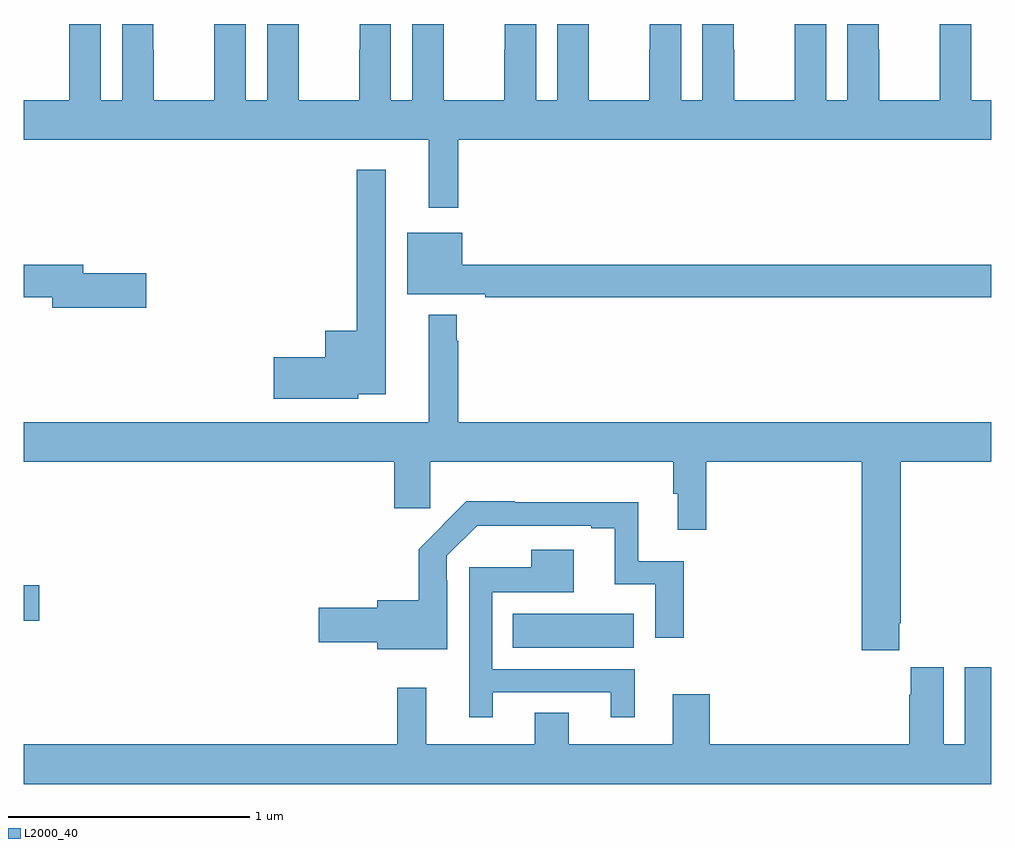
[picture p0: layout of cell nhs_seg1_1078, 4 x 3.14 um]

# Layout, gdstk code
import gdstk
lib = gdstk.Library(unit=1e-6, precision=1e-09)
def R(c, l, rs):  # rectangles x0, y0, x1, y1
    for r in rs: c.add(gdstk.rectangle(r[:2], r[2:], *l))
def P(c, l, *ps):  # polygons
    for p in ps: c.add(gdstk.Polygon(p, *l))
L2000_40 = (2000, 40)

nhs_seg1_1078 = lib.new_cell('nhs_seg1_1078')
R(nhs_seg1_1078, L2000_40, [(171.022,561.62,171.523,561.76), (169,561.731,169.063,561.878)])
P(nhs_seg1_1078, L2000_40, [(170.797,563.72),(173,563.72),(173,563.884),(172.918,563.884),(172.918,564.199),(172.788,564.199),(172.788,564.092),(172.787,564.092),(172.787,563.884),(172.537,563.884),(172.537,564.092),(172.536,564.092),(172.536,564.199),(172.406,564.199),(172.406,563.884),(172.318,563.884),(172.318,564.199),(172.188,564.199),(172.188,564.092),(172.187,564.092),(172.187,563.884),(171.937,563.884),(171.937,564.092),(171.936,564.092),(171.936,564.199),(171.806,564.199),(171.806,563.884),(171.718,563.884),(171.718,564.199),(171.588,564.199),(171.588,564.092),(171.587,564.092),(171.587,563.884),(171.337,563.884),(171.337,564.092),(171.336,564.092),(171.336,564.199),(171.206,564.199),(171.206,563.884),(171.118,563.884),(171.118,564.199),(170.988,564.199),(170.988,564.092),(170.987,564.092),(170.987,563.884),(170.737,563.884),(170.737,564.092),(170.736,564.092),(170.736,564.199),(170.606,564.199),(170.606,563.884),(170.518,563.884),(170.518,564.199),(170.388,564.199),(170.388,564.092),(170.387,564.092),(170.387,563.884),(170.137,563.884),(170.137,564.092),(170.136,564.092),(170.136,564.199),(170.006,564.199),(170.006,563.884),(169.918,563.884),(169.918,564.199),(169.788,564.199),(169.788,564.092),(169.787,564.092),(169.787,563.884),(169.537,563.884),(169.537,564.092),(169.536,564.092),(169.536,564.199),(169.406,564.199),(169.406,563.884),(169.318,563.884),(169.318,564.199),(169.188,564.199),(169.188,564.092),(169.187,564.092),(169.187,563.884),(169,563.884),(169,563.72),(170.675,563.72),(170.675,563.439),(170.797,563.439)],
  [(170.382,562.667),(170.497,562.667),(170.497,563.596),(170.376,563.596),(170.376,562.93),(170.246,562.93),(170.246,562.82),(170.034,562.82),(170.034,562.649),(170.382,562.649)],
  [(173,563.204),(170.812,563.204),(170.812,563.335),(170.585,563.335),(170.585,563.081),(170.908,563.081),(170.908,563.068),(173,563.068)],
  [(169.507,563.168),(169.246,563.168),(169.246,563.204),(169,563.204),(169,563.068),(169.118,563.068),(169.118,563.026),(169.507,563.026)],
  [(172.621,561.721),(172.626,561.721),(172.626,562.388),(173,562.388),(173,562.552),(170.797,562.552),(170.797,562.889),(170.79,562.889),(170.79,562.996),(170.675,562.996),(170.675,562.552),(169,562.552),(169,562.388),(170.531,562.388),(170.531,562.197),(170.681,562.197),(170.681,562.388),(171.685,562.388),(171.685,562.256),(171.704,562.256),(171.704,562.107),(171.821,562.107),(171.821,562.388),(172.466,562.388),(172.466,561.609),(172.621,561.609)],
  [(170.751,561.899),(170.748,561.899),(170.748,561.999),(170.874,562.125),(171.347,562.125),(171.347,562.113),(171.443,562.113),(171.443,561.882),(171.612,561.882),(171.612,561.66),(171.728,561.66),(171.728,561.978),(171.541,561.978),(171.541,562.222),(171.029,562.222),(171.029,562.225),(170.83,562.225),(170.633,562.027),(170.633,561.816),(170.462,561.816),(170.462,561.785),(170.22,561.785),(170.22,561.643),(170.462,561.643),(170.462,561.614),(170.751,561.614)],
  [(170.938,561.435),(171.428,561.435),(171.428,561.333),(171.526,561.333),(171.526,561.531),(170.937,561.531),(170.937,561.848),(171.274,561.848),(171.274,562.024),(171.098,562.024),(171.098,561.952),(170.841,561.952),(170.841,561.333),(170.938,561.333)],
  [(173,561.538),(172.892,561.538),(172.892,561.22),(172.804,561.22),(172.804,561.538),(172.667,561.538),(172.667,561.425),(172.661,561.425),(172.661,561.22),(171.836,561.22),(171.836,561.427),(171.683,561.427),(171.683,561.22),(171.253,561.22),(171.253,561.35),(171.113,561.35),(171.113,561.22),(170.663,561.22),(170.663,561.454),(170.545,561.454),(170.545,561.22),(169,561.22),(169,561.056),(173,561.056)])

lib.write_gds('nhs_seg1_1078.gds')
